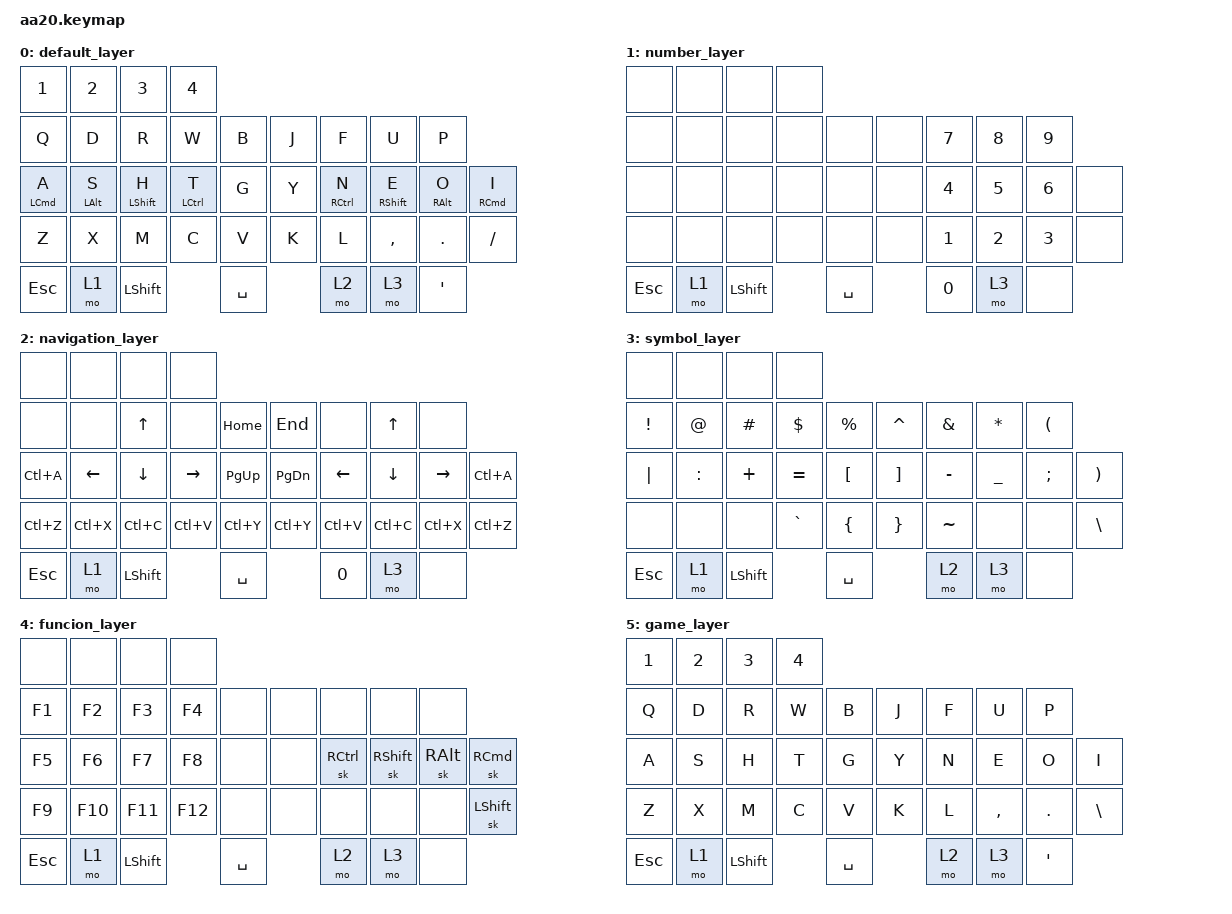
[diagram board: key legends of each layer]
/*
 * Copyright (c) 2021 choochoo#8888
 *
 * SPDX-License-Identifier: MIT
 */
#include <behaviors.dtsi>
#include <dt-bindings/zmk/keys.h>
#include <dt-bindings/zmk/bt.h>
&sk {
    release-after-ms = <10000>;
};
/ {
    conditional_layers {
        compatible = "zmk,conditional-layers";
        function_layer {
            if-layers = <1 3>;
            then-layer = <4>;
        };
    };
};
/ {
    combos {
        compatible = "zmk,combos";
        combo_return {
            timeout-ms = <50>;
            key-positions = <29 30>;
            bindings = <&kp RET>;
        };
        combo_backspace {
            timeout-ms = <50>;
            key-positions = <25 26>;
            bindings = <&kp BSPC>;
        };
        combo_delete {
            timeout-ms = <50>;
            key-positions = <6 7>;
            bindings = <&kp DEL>;
        };
        combo_tab {
            timeout-ms = <50>;
            key-positions = <10 11>;
            bindings = <&kp TAB>;
        };
        combo_game_toggle {
            timeout-ms = <50>;
            key-positions = <9 10 11 12>;
            bindings = <&tog 5>;
        };
    };
};
/ {
    behaviors {
        hm: homerow_mods {
            compatible = "zmk,behavior-hold-tap";
            label = "HOMEROW_MODS";
            #binding-cells = <2>;
            tapping-term-ms = <220>;
            quick_tap_ms = <0>;
            flavor = "tap-preferred";
            bindings = <&kp>, <&kp>;
        };
    };
    keymap {
        compatible = "zmk,keymap";
        default_layer {
			bindings = <
    &kp N1 &kp N2 &kp N3 &kp N4
	&kp Q &kp D &kp R &kp W &kp B &kp J &kp F &kp U &kp P   
    &hm LCMD A &hm LALT S &hm LSHFT H &hm LCTRL T &kp G &kp Y &hm RCTRL N &hm RSHFT E &hm RALT O &hm RCMD I
	&kp Z &kp X &kp M &kp C &kp V &kp K &kp L &kp COMMA &kp DOT &kp FSLH
	&kp ESC &mo 1 &kp LSHFT &kp SPACE &mo 2 &mo 3 &kp SQT
            >;
        };
        number_layer {
			bindings = <
    &none &none &none &none
    &none &none &none &none &none &none &kp N7 &kp N8 &kp N9 
    &none &none &none &none &none &none &kp N4 &kp N5 &kp N6 &none
    &none &none &none &none &none &none &kp N1 &kp N2 &kp N3 &none
    &kp ESC &mo 1 &kp LSHFT &kp SPACE &kp N0 &mo 3 &none
            >;
        };
        navigation_layer {
			bindings = <
    &none &none &none &none  
	&none &none &kp UP &none &kp HOME &kp END &none &kp UP &none      
	&kp LC(A) &kp LEFT &kp DOWN &kp RIGHT &kp PG_UP &kp PG_DN &kp LEFT &kp DOWN &kp RIGHT &kp LC(A)
	&kp LC(Z) &kp LC(X) &kp LC(C) &kp LC(V) &kp LC(Y) &kp LC(Y) &kp LC(V) &kp LC(C) &kp LC(X) &kp LC(Z) 
	&kp ESC &mo 1 &kp LSHFT &kp SPACE &kp 0 &mo 3 &none
            >;
        };
        symbol_layer {
			bindings = <
    &none &none &none &none 
	&kp EXCL &kp AT &kp HASH &kp DLLR &kp PRCNT &kp CARET &kp AMPS &kp STAR &kp LPAR 
	&kp PIPE &kp COLON &kp PLUS &kp EQUAL &kp LBKT  &kp RBKT  &kp MINUS &kp UNDERSCORE &kp SEMI &kp RPAR 
	&none &none &none &kp GRAVE &kp LBRC &kp RBRC &kp TILDE &none &none &kp BSLH
	&kp ESC &mo 1 &kp LSHFT &kp SPACE &mo 2 &mo 3 &none  
            >;
        };
        funcion_layer {
			bindings = <
    &none &none &none &none 
	&kp F1 &kp F2 &kp F3 &kp F4 &none &none &none &none &none     
	&kp F5 &kp F6 &kp F7 &kp F8 &none &none &sk RCTRL &sk RSHFT &sk RALT &sk RCMD 
	&kp F9 &kp F10 &kp F11 &kp F12 &none &none &none &none &none &sk LSHFT
	&kp ESC &mo 1 &kp LSHFT &kp SPACE &mo 2 &mo 3 &none    
            >;
        };   
        game_layer {
			bindings = <
    &kp N1 &kp N2 &kp N3 &kp N4
	&kp Q &kp D &kp R &kp W &kp B &kp J &kp F &kp U &kp P   
    &kp A &kp S &kp H &kp T &kp G &kp Y &kp  N &kp E &kp O &kp I
	&kp Z &kp X &kp M &kp C &kp V &kp K &kp L &kp COMMA &kp DOT &kp BSLH
	&kp ESC &mo 1 &kp LSHFT &kp SPACE &mo 2 &mo 3 &kp SQT
            >;
        };
    };
};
